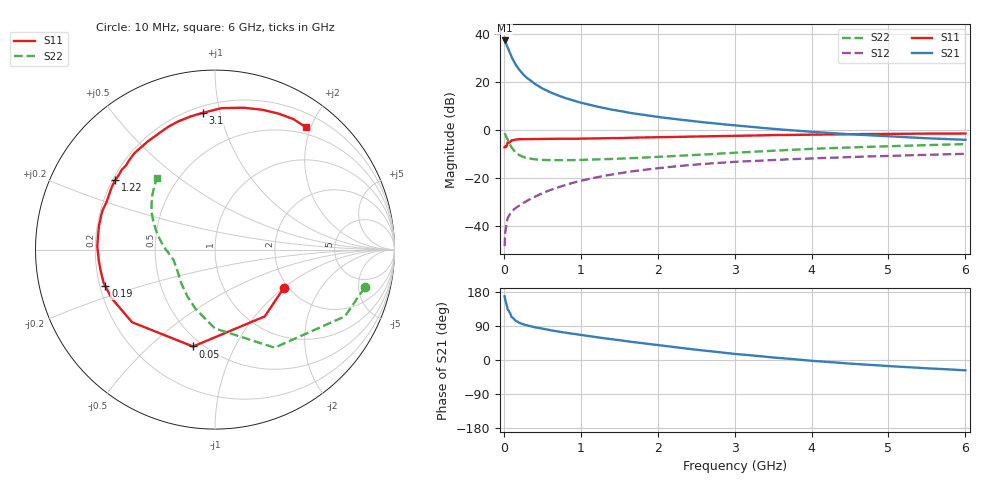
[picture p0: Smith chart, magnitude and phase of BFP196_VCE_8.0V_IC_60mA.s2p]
! Infineon Technologies  Discrete & RF Semiconductors
! BFP196
! VCE = 8.0 V,  IC =  60mA
! Common Emitter S-Parameters:  Jan 2016
# GHz  S  MA  R  50
!  f  S11  S21  S12  S22
! GHz  MAG  ANG  MAG  ANG  MAG  ANG  MAG  ANG
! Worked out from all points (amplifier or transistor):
!   210 points, 10 MHz to 6 GHz, reference 50 ohm
!   highest |S21| = 37.4 dB at 10 MHz (marker M1)
!   |S21| within 3 dB of that: start of sweep to 51.19 MHz
!   unconditionally stable (mu >= 1): 475.8 MHz to 4.5 GHz
!   at 185 MHz: K = 0.70, MSG = 28.9 dB, |S12| = -31.8 dB
!   at 1.52 GHz: K = 1.08, MAG = 11.2 dB, |S12| = -17.9 dB
!   at 6 GHz: K = 0.98, MSG = 2.9 dB, |S12| = -9.9 dB
!   S11 on the Smith chart (normalised r, x): 10 MHz: 1.90, -1.00; 50 MHz: 0.45, -0.70; 190 MHz: 0.22, -0.15; 1.22 GHz: 0.21, +0.30; 3.1 GHz: 0.24, +0.89; 6 GHz: 0.39, +1.92
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0.01  0.4388 -28.9  74.3 168.2  0.0038 79.9  0.8603 -14.2
0.02  0.4641 -53.3  69.11 156.9  0.0076 71.1  0.8141 -27.2
0.05  0.5536 -102.8  53.12 133.6  0.0147 55.1  0.6395 -58.7
0.1  0.6141 -138.8  33.56 113.7  0.0199 47.5  0.4392 -90.1
0.15  0.6361 -154.6  23.64 104.0  0.0235 47.9  0.3473 -108.2
0.19  0.644 -161.6  19.26 99.6  0.0261 49.7  0.31 -117.8
0.2  0.6475 -163.3  18.19 98.2  0.0267 50.1  0.3023 -120.6
0.24  0.6472 -168.5  15.31 95.1  0.0293 52.5  0.2809 -128.0
0.26  0.6481 -170.7  14.13 93.6  0.0307 53.6  0.2733 -131.2
0.3  0.6502 -174.3  12.27 91.2  0.0333 55.6  0.2627 -136.3
0.4  0.6559 178.6  9.29 86.5  0.0406 58.3  0.2468 -146.0
0.5  0.6564 173.3  7.42 82.6  0.0479 60.5  0.2392 -152.3
0.6  0.6596 168.5  6.207 78.7  0.056 61.3  0.237 -156.7
0.7  0.6619 164.1  5.335 75.1  0.0636 61.4  0.2367 -160.0
1.02  0.6664 152.0  3.677 65.5  0.0894 59.8  0.2401 -167.1
1.22  0.6769 145.1  3.085 59.9  0.1049 57.9  0.2457 -170.4
1.6  0.691 133.5  2.352 49.5  0.1333 53.0  0.2594 -175.5
2.02  0.71 121.5  1.871 39.0  0.162 47.0  0.2778 178.6
3.1  0.7645 95.1  1.217 14.4  0.2222 31.3  0.3439 162.4
4.1  0.8086 77.1  0.902 -3.5  0.2607 18.7  0.4134 148.7
5.1  0.8379 63.7  0.729 -17.1  0.2937 7.6  0.4671 138.0
6  0.8494 53.5  0.629 -27.3  0.3206 -2.1  0.5121 129.0
